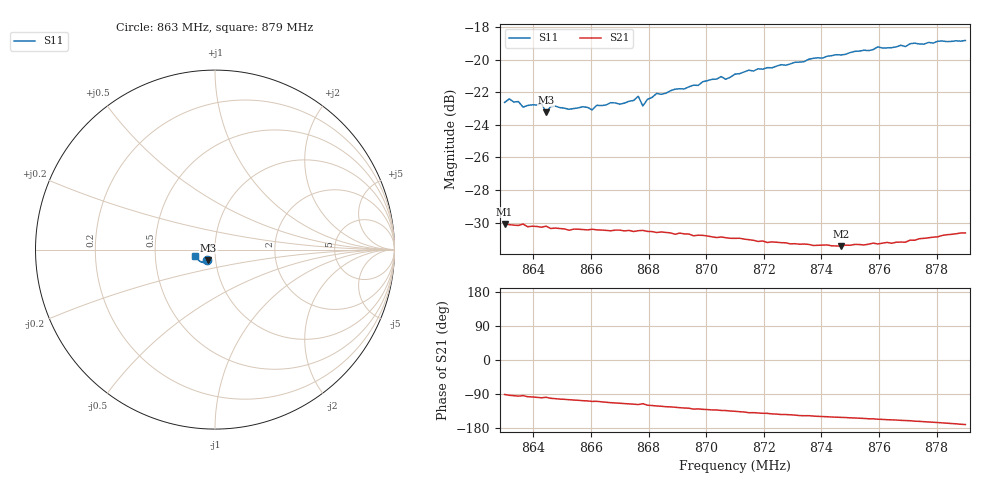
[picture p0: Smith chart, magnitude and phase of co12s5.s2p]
# HZ S RI R 50
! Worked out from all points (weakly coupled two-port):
!   101 points, 863 MHz to 879 MHz, reference 50 ohm
!   highest |S21| = -30.08 dB at 863 MHz (marker M1); lowest = -31.4 dB at 874.68 MHz (marker M2)
!   lowest |S11| = -23.2 dB at 864.44 MHz (marker M3), VSWR 1.15, Z = 46.1 - j5.34 ohm
!   |S11| at or under -10 dB: start of sweep to end of sweep
!   S12 and S22 are empty: the file has one direction only
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8.63e8  -0.0453 -0.0585  -0.00053 -0.0313  0 0  0 0
8.6316e8  -0.0469 -0.0596  -0.00172 -0.0311  0 0  0 0
8.6348e8  -0.0451 -0.0592  -0.00288 -0.0309  0 0  0 0
8.6364e8  -0.04 -0.0593  -0.00217 -0.0312  0 0  0 0
8.6428e8  -0.0435 -0.0592  -0.00519 -0.0302  0 0  0 0
8.6444e8  -0.0377 -0.0576  -0.00448 -0.0305  0 0  0 0
8.646e8  -0.0443 -0.0566  -0.00583 -0.0298  0 0  0 0
8.6524e8  -0.0394 -0.0584  -0.00765 -0.029  0 0  0 0
8.6572e8  -0.0385 -0.0605  -0.00901 -0.0287  0 0  0 0
8.6604e8  -0.0381 -0.0589  -0.00997 -0.0285  0 0  0 0
8.662e8  -0.0382 -0.0616  -0.00979 -0.0284  0 0  0 0
8.67e8  -0.0382 -0.0623  -0.0123 -0.0274  0 0  0 0
8.6764e8  -0.0405 -0.0658  -0.0138 -0.0265  0 0  0 0
8.678e8  -0.0348 -0.0632  -0.0128 -0.0271  0 0  0 0
8.6828e8  -0.0406 -0.0676  -0.0153 -0.0252  0 0  0 0
8.6844e8  -0.0409 -0.0668  -0.0157 -0.0251  0 0  0 0
8.71e8  -0.0539 -0.0725  -0.0201 -0.0199  0 0  0 0
8.7372e8  -0.0716 -0.0713  -0.0228 -0.0143  0 0  0 0
8.7468e8  -0.0795 -0.0662  -0.0235 -0.0128  0 0  0 0
8.7596e8  -0.0904 -0.0618  -0.0249 -0.0109  0 0  0 0
8.7644e8  -0.0928 -0.057  -0.0253 -0.0102  0 0  0 0
8.79e8  -0.1093 -0.0346  -0.029 -0.00492  0 0  0 0
